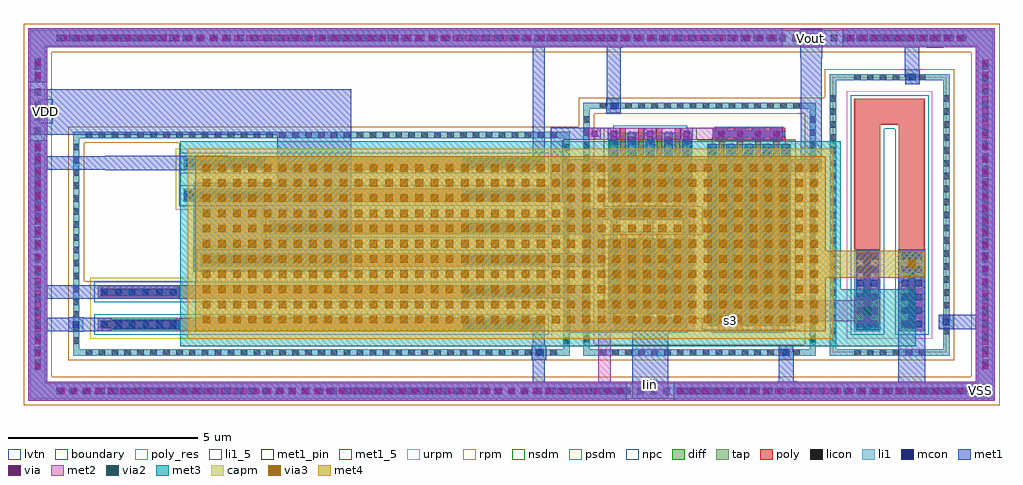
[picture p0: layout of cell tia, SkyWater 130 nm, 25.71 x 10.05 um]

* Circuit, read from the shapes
.subckt tia Iin VDD VSS Vout s3
XM1 VSS Iin sky130_fd_pr__nfet_01v8_lvt_Z2NKZQ_3/D0 VSS sky130_fd_pr__nfet_01v8_lvt w=1.98 l=0.15 m=4
XM2 Iin sky130_fd_pr__nfet_01v8_lvt_Z2NKZQ_3/D0 sky130_fd_pr__nfet_01v8_lvt_L86FKH_4/D0 VSS sky130_fd_pr__nfet_01v8_lvt w=1.83 l=0.15 m=4
XM3 s3 sky130_fd_pr__nfet_01v8_lvt_L86FKH_4/D0 Vout VSS sky130_fd_pr__nfet_01v8_lvt w=4.78 l=0.15 m=4
XC4 VSS s3 sky130_fd_pr__cap_mim_m3_1 w=17 l=5
XR5 VSS VSS VSS sky130_fd_pr__res_high_po w=0.35 l=7.5
XR6 Iin VSS VSS sky130_fd_pr__res_high_po w=0.35 l=7.5
XR7 sky130_fd_pr__nfet_01v8_lvt_L86FKH_4/D0 VDD VSS sky130_fd_pr__res_high_po w=0.35 l=5.24
XR8 VSS VSS VSS sky130_fd_pr__res_high_po w=0.35 l=5.24
XR9 sky130_fd_pr__nfet_01v8_lvt_Z2NKZQ_3/D0 VDD VSS sky130_fd_pr__res_high_po w=0.35 l=4.79
XR10 Vout VDD VSS sky130_fd_pr__res_high_po w=0.35 l=2.98
XR11 s3 VSS VSS sky130_fd_pr__res_xhigh_po w=0.69 l=8.44
.ends

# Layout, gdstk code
from math import pi, radians
import gdstk
lib = gdstk.Library(unit=1e-6, precision=1e-09)
def R(c, l, rs):  # rectangles x0, y0, x1, y1
    for r in rs: c.add(gdstk.rectangle(r[:2], r[2:], *l))
def A(c, l, x, y, w, h, nx, ny, dx, dy):  # array of equal rectangles
    R(c, l, [(x+i*dx, y+j*dy, x+i*dx+w, y+j*dy+h) for i in range(nx) for j in range(ny)])
diff = (65, 20)
tap = (65, 44)
poly_res = (66, 13)
poly = (66, 20)
licon = (66, 44)
li1_5 = (67, 5)
li1 = (67, 20)
mcon = (67, 44)
met1_5 = (68, 5)
met1_pin = (68, 16)
met1 = (68, 20)
via = (68, 44)
met2 = (69, 20)
via2 = (69, 44)
met3 = (70, 20)
via3 = (70, 44)
met4 = (71, 20)
urpm = (79, 20)
rpm = (86, 20)
capm = (89, 44)
nsdm = (93, 44)
psdm = (94, 20)
npc = (95, 20)
lvtn = (125, 44)
boundary = (235, 4)

sky130_fd_pr__res_high_p = lib.new_cell('sky130_fd_pr__res_high_po_0p35_G6NFUH')
R(sky130_fd_pr__res_high_p, poly_res, [(-0.175,-2.68,0.175,2.68)])
R(sky130_fd_pr__res_high_p, poly, [(-0.175,-4.76,0.175,4.76)])
R(sky130_fd_pr__res_high_p, licon, [(-0.095,-4.68,0.095,-2.68), (-0.095,2.68,0.095,4.68)])
R(sky130_fd_pr__res_high_p, li1, [(-0.175,-4.76,0.175,-2.6), (-0.175,2.6,0.175,4.76)])
A(sky130_fd_pr__res_high_p, mcon, -0.085, -4.665, 0.17, 0.17, 1, 6, 0, 0.36)
A(sky130_fd_pr__res_high_p, mcon, -0.085, 2.69, 0.17, 0.17, 1, 6, 0, 0.36)
R(sky130_fd_pr__res_high_p, met1, [(-0.125,-4.73,0.125,-2.625), (-0.125,2.625,0.125,4.73)])
R(sky130_fd_pr__res_high_p, rpm, [(-0.375,-4.96,0.375,4.96)])
R(sky130_fd_pr__res_high_p, psdm, [(-0.285,-4.87,0.285,4.87)])
R(sky130_fd_pr__res_high_p, npc, [(-0.27,-4.855,0.27,4.855)])
sky130_fd_pr__res_high_p.add(gdstk.Label('R1', (0,4.585), layer=67, texttype=5))
sky130_fd_pr__res_high_p.add(gdstk.Label('R2', (0,-4.585), layer=67, texttype=5))

c_sky130_fd_pr__res_high_p = lib.new_cell('sky130_fd_pr__res_high_po_0p35_CDD7FB')
R(c_sky130_fd_pr__res_high_p, poly_res, [(-0.175,-3.81,0.175,3.81)])
R(c_sky130_fd_pr__res_high_p, poly, [(-0.175,-5.89,0.175,5.89)])
R(c_sky130_fd_pr__res_high_p, licon, [(-0.095,-5.81,0.095,-3.81), (-0.095,3.81,0.095,5.81)])
R(c_sky130_fd_pr__res_high_p, li1, [(-0.175,-5.89,0.175,-3.73), (-0.175,3.73,0.175,5.89)])
A(c_sky130_fd_pr__res_high_p, mcon, -0.085, -5.795, 0.17, 0.17, 1, 6, 0, 0.36)
A(c_sky130_fd_pr__res_high_p, mcon, -0.085, 3.82, 0.17, 0.17, 1, 6, 0, 0.36)
R(c_sky130_fd_pr__res_high_p, met1, [(-0.125,-5.86,0.125,-3.755), (-0.125,3.755,0.125,5.86)])
R(c_sky130_fd_pr__res_high_p, rpm, [(-0.375,-6.09,0.375,6.09)])
R(c_sky130_fd_pr__res_high_p, psdm, [(-0.285,-6,0.285,6)])
R(c_sky130_fd_pr__res_high_p, npc, [(-0.27,-5.985,0.27,5.985)])
c_sky130_fd_pr__res_high_p.add(gdstk.Label('R1', (0,5.715), layer=67, texttype=5))
c_sky130_fd_pr__res_high_p.add(gdstk.Label('R2', (0,-5.715), layer=67, texttype=5))

c_sky130_fd_pr__res_high_p_ = lib.new_cell('sky130_fd_pr__res_high_po_0p35_VNWR4D')
R(c_sky130_fd_pr__res_high_p_, poly_res, [(-0.175,-1.55,0.175,1.55)])
R(c_sky130_fd_pr__res_high_p_, poly, [(-0.175,-3.63,0.175,3.63)])
R(c_sky130_fd_pr__res_high_p_, licon, [(-0.095,-3.55,0.095,-1.55), (-0.095,1.55,0.095,3.55)])
R(c_sky130_fd_pr__res_high_p_, li1, [(-0.175,-3.63,0.175,-1.47), (-0.175,1.47,0.175,3.63)])
A(c_sky130_fd_pr__res_high_p_, mcon, -0.085, -3.535, 0.17, 0.17, 1, 6, 0, 0.36)
A(c_sky130_fd_pr__res_high_p_, mcon, -0.085, 1.56, 0.17, 0.17, 1, 6, 0, 0.36)
R(c_sky130_fd_pr__res_high_p_, met1, [(-0.125,-3.6,0.125,-1.495), (-0.125,1.495,0.125,3.6)])
R(c_sky130_fd_pr__res_high_p_, rpm, [(-0.375,-3.83,0.375,3.83)])
R(c_sky130_fd_pr__res_high_p_, psdm, [(-0.285,-3.74,0.285,3.74)])
R(c_sky130_fd_pr__res_high_p_, npc, [(-0.27,-3.725,0.27,3.725)])
c_sky130_fd_pr__res_high_p_.add(gdstk.Label('R1', (0,3.455), layer=67, texttype=5))
c_sky130_fd_pr__res_high_p_.add(gdstk.Label('R2', (0,-3.455), layer=67, texttype=5))

c_sky130_fd_pr__res_high_p__ = lib.new_cell('sky130_fd_pr__res_high_po_0p35_GQTRPE')
R(c_sky130_fd_pr__res_high_p__, poly_res, [(-0.175,-2.455,0.175,2.455)])
R(c_sky130_fd_pr__res_high_p__, poly, [(-0.175,-4.535,0.175,4.535)])
R(c_sky130_fd_pr__res_high_p__, licon, [(-0.095,-4.455,0.095,-2.455), (-0.095,2.455,0.095,4.455)])
R(c_sky130_fd_pr__res_high_p__, li1, [(-0.175,-4.535,0.175,-2.375), (-0.175,2.375,0.175,4.535)])
A(c_sky130_fd_pr__res_high_p__, mcon, -0.085, -4.44, 0.17, 0.17, 1, 6, 0, 0.36)
A(c_sky130_fd_pr__res_high_p__, mcon, -0.085, 2.465, 0.17, 0.17, 1, 6, 0, 0.36)
R(c_sky130_fd_pr__res_high_p__, met1, [(-0.125,-4.505,0.125,-2.4), (-0.125,2.4,0.125,4.505)])
R(c_sky130_fd_pr__res_high_p__, rpm, [(-0.375,-4.735,0.375,4.735)])
R(c_sky130_fd_pr__res_high_p__, psdm, [(-0.285,-4.645,0.285,4.645)])
R(c_sky130_fd_pr__res_high_p__, npc, [(-0.27,-4.63,0.27,4.63)])
c_sky130_fd_pr__res_high_p__.add(gdstk.Label('R1', (0,4.36), layer=67, texttype=5))
c_sky130_fd_pr__res_high_p__.add(gdstk.Label('R2', (0,-4.36), layer=67, texttype=5))

resbank = lib.new_cell('resbank')
R(resbank, tap, [(-3.825,-6.54,2.075,-6.37), (-3.825,-6.37,-3.655,6.37), (1.905,-6.37,2.075,6.37), (-3.825,6.37,2.075,6.54)])
A(resbank, licon, -3.51, -6.54, 0.17, 0.17, 16, 2, 0.34, 12.91)
A(resbank, licon, -3.825, -6.205, 0.17, 0.17, 1, 37, 0, 0.34)
A(resbank, licon, 1.905, -6.205, 0.17, 0.17, 1, 37, 0, 0.34)
R(resbank, li1_5, [(-3.825,-0.1,-3.655,0.1)])
R(resbank, li1, [(-3.825,-6.54,2.075,-6.37), (-3.825,-6.37,-3.655,6.37), (1.905,-6.37,2.075,6.37), (-3.825,6.37,2.075,6.54)])
R(resbank, rpm, [(-2.625,-6.09,-2.525,6.09), (-1.775,-6.09,-1.675,3.38), (-0.925,-6.09,-0.825,1.57), (-0.075,-6.09,0.025,1.57), (0.775,-6.09,0.875,3.83)])
R(resbank, psdm, [(-3.95,-6.665,2.2,-6), (-3.95,-6,-3.285,6), (-2.715,-6,-2.435,6), (-1.865,-6,-1.585,3.29), (-1.015,-6,-0.735,1.48), (-0.165,-6,0.115,1.48), (0.685,-6,0.965,3.74), (1.535,-6,2.2,3.74), (1.78,3.74,2.2,6.245), (-3.95,6,-1.865,6.245), (-3.95,6.245,2.2,6.665)])
resbank.add(gdstk.Reference(sky130_fd_pr__res_high_p, (1.25,-1.13)))
resbank.add(gdstk.Reference(c_sky130_fd_pr__res_high_p, (-3,0)))
resbank.add(gdstk.Reference(c_sky130_fd_pr__res_high_p, (-2.15,0)))
resbank.add(gdstk.Reference(c_sky130_fd_pr__res_high_p_, (-0.45,-2.26)))
resbank.add(gdstk.Reference(c_sky130_fd_pr__res_high_p__, (-1.3,-1.355)))
resbank.add(gdstk.Reference(sky130_fd_pr__res_high_p, (0.4,-1.13)))
resbank.add(gdstk.Label('VSS', (-3.74,0), layer=67, texttype=5))

sky130_fd_pr__res_xhigh_ = lib.new_cell('sky130_fd_pr__res_xhigh_po_0p69_2YV6RR')
R(sky130_fd_pr__res_xhigh_, tap, [(-1.58,-3.71,1.58,-3.54), (-1.58,-3.54,-1.41,3.54), (1.41,-3.54,1.58,3.54), (-1.58,3.54,1.58,3.71)])
R(sky130_fd_pr__res_xhigh_, poly_res, [(-0.93,-0.98,-0.24,2.37), (0.24,-0.98,0.93,2.37), (-0.93,2.37,0.93,3.06)])
R(sky130_fd_pr__res_xhigh_, poly, [(-0.93,-3.06,-0.24,2.37), (0.24,-3.06,0.93,2.37), (-0.93,2.37,0.93,3.06)])
A(sky130_fd_pr__res_xhigh_, licon, -0.935, -3.71, 0.17, 0.17, 6, 2, 0.34, 7.25)
A(sky130_fd_pr__res_xhigh_, licon, -1.58, -3.145, 0.17, 0.17, 1, 19, 0, 0.34)
A(sky130_fd_pr__res_xhigh_, licon, 1.41, -3.145, 0.17, 0.17, 1, 19, 0, 0.34)
R(sky130_fd_pr__res_xhigh_, licon, [(-0.68,-2.98,-0.49,-0.98), (0.49,-2.98,0.68,-0.98)])
R(sky130_fd_pr__res_xhigh_, li1, [(-1.58,-3.71,1.58,-3.54), (-1.58,-3.54,-1.41,3.54), (1.41,-3.54,1.58,3.54), (-0.93,-3.06,-0.24,-0.9), (0.24,-3.06,0.93,-0.9), (-1.58,3.54,1.58,3.71)])
A(sky130_fd_pr__res_xhigh_, mcon, -0.85, -2.965, 0.17, 0.17, 1, 6, 0, 0.36)
A(sky130_fd_pr__res_xhigh_, mcon, -0.49, -2.965, 0.17, 0.17, 1, 6, 0, 0.36)
A(sky130_fd_pr__res_xhigh_, mcon, 0.32, -2.965, 0.17, 0.17, 1, 6, 0, 0.36)
A(sky130_fd_pr__res_xhigh_, mcon, 0.68, -2.965, 0.17, 0.17, 1, 6, 0, 0.36)
R(sky130_fd_pr__res_xhigh_, met1, [(-0.88,-3.03,-0.29,-0.925), (0.29,-3.03,0.88,-0.925)])
R(sky130_fd_pr__res_xhigh_, urpm, [(-1.13,-3.26,1.13,3.26)])
R(sky130_fd_pr__res_xhigh_, psdm, [(-1.705,-3.835,1.705,3.835)])
R(sky130_fd_pr__res_xhigh_, npc, [(-1.025,-3.155,-0.145,2.275), (0.145,-3.155,1.025,2.275), (-1.025,2.275,1.025,3.155)])
R(sky130_fd_pr__res_xhigh_, boundary, [(-1.495,-3.625,1.495,3.625)])
sky130_fd_pr__res_xhigh_.add(gdstk.Label('B', (0,-3.625), layer=67, texttype=5))
sky130_fd_pr__res_xhigh_.add(gdstk.Label('R1', (-0.585,-2.885), layer=67, texttype=5))
sky130_fd_pr__res_xhigh_.add(gdstk.Label('R2', (0.585,-2.885), layer=67, texttype=5))

sky130_fd_pr__nfet_01v8_ = lib.new_cell('sky130_fd_pr__nfet_01v8_lvt_Y8Z6EY')
R(sky130_fd_pr__nfet_01v8_, diff, [(-1.105,-2.545,1.105,2.235)])
A(sky130_fd_pr__nfet_01v8_, poly, -0.795, -2.675, 0.15, 5.02, 4, 1, 0.48, 0)
R(sky130_fd_pr__nfet_01v8_, poly, [(-0.96,2.345,0.96,2.675)])
A(sky130_fd_pr__nfet_01v8_, licon, -1.045, -2.45, 0.17, 0.17, 5, 14, 0.48, 0.34)
A(sky130_fd_pr__nfet_01v8_, licon, -0.805, 2.425, 0.17, 0.17, 4, 1, 0.48, 0)
A(sky130_fd_pr__nfet_01v8_, li1, -1.045, -2.565, 0.17, 4.82, 5, 1, 0.48, 0)
R(sky130_fd_pr__nfet_01v8_, li1, [(-0.96,2.425,0.96,2.595)])
A(sky130_fd_pr__nfet_01v8_, mcon, -1.045, -2.4, 0.17, 0.17, 5, 13, 0.48, 0.36)
A(sky130_fd_pr__nfet_01v8_, mcon, -0.805, 2.425, 0.17, 0.17, 4, 1, 0.48, 0)
A(sky130_fd_pr__nfet_01v8_, met1, -1.075, -2.545, 0.23, 4.78, 5, 1, 0.48, 0)
A(sky130_fd_pr__nfet_01v8_, met1, -0.865, 2.395, 0.29, 0.03, 4, 2, 0.48, 0.2)
R(sky130_fd_pr__nfet_01v8_, met1, [(-0.96,2.425,0.96,2.595)])
R(sky130_fd_pr__nfet_01v8_, nsdm, [(-1.23,-2.67,1.23,2.36)])
R(sky130_fd_pr__nfet_01v8_, npc, [(-0.905,2.325,0.905,2.695)])
R(sky130_fd_pr__nfet_01v8_, lvtn, [(-0.975,-2.725,0.975,2.415)])
sky130_fd_pr__nfet_01v8_.add(gdstk.Label('D0', (-0.96,-0.155), layer=67, texttype=5))
sky130_fd_pr__nfet_01v8_.add(gdstk.Label('G', (0.72,2.51), layer=67, texttype=5))
sky130_fd_pr__nfet_01v8_.add(gdstk.Label('G', (0.24,2.51), layer=67, texttype=5))
sky130_fd_pr__nfet_01v8_.add(gdstk.Label('G', (-0.24,2.51), layer=67, texttype=5))
sky130_fd_pr__nfet_01v8_.add(gdstk.Label('G', (-0.72,2.51), layer=67, texttype=5))
sky130_fd_pr__nfet_01v8_.add(gdstk.Label('S1', (-0.48,-0.155), layer=67, texttype=5))
sky130_fd_pr__nfet_01v8_.add(gdstk.Label('D2', (0,-0.155), layer=67, texttype=5))
sky130_fd_pr__nfet_01v8_.add(gdstk.Label('S3', (0.48,-0.155), layer=67, texttype=5))

c_sky130_fd_pr__nfet_01v8_ = lib.new_cell('sky130_fd_pr__nfet_01v8_lvt_Z2NKZQ')
R(c_sky130_fd_pr__nfet_01v8_, diff, [(-1.105,-0.835,1.105,1.145)])
A(c_sky130_fd_pr__nfet_01v8_, poly, -0.795, -0.945, 0.15, 2.22, 4, 1, 0.48, 0)
R(c_sky130_fd_pr__nfet_01v8_, poly, [(-0.96,-1.275,0.96,-0.945)])
A(c_sky130_fd_pr__nfet_01v8_, licon, -0.805, -1.195, 0.17, 0.17, 4, 1, 0.48, 0)
A(c_sky130_fd_pr__nfet_01v8_, licon, -1.045, -0.61, 0.17, 0.17, 5, 5, 0.48, 0.34)
A(c_sky130_fd_pr__nfet_01v8_, li1, -1.045, -0.855, 0.17, 2.02, 5, 1, 0.48, 0)
R(c_sky130_fd_pr__nfet_01v8_, li1, [(-0.96,-1.195,0.96,-1.025)])
A(c_sky130_fd_pr__nfet_01v8_, mcon, -0.805, -1.195, 0.17, 0.17, 4, 1, 0.48, 0)
A(c_sky130_fd_pr__nfet_01v8_, mcon, -1.045, -0.65, 0.17, 0.17, 5, 5, 0.48, 0.36)
A(c_sky130_fd_pr__nfet_01v8_, met1, -0.865, -1.225, 0.29, 0.03, 4, 2, 0.48, 0.2)
A(c_sky130_fd_pr__nfet_01v8_, met1, -1.075, -0.835, 0.23, 1.98, 5, 1, 0.48, 0)
R(c_sky130_fd_pr__nfet_01v8_, met1, [(-0.96,-1.195,0.96,-1.025)])
R(c_sky130_fd_pr__nfet_01v8_, nsdm, [(-1.23,-0.96,1.23,1.27)])
R(c_sky130_fd_pr__nfet_01v8_, npc, [(-0.905,-1.295,0.905,-0.925)])
R(c_sky130_fd_pr__nfet_01v8_, lvtn, [(-0.975,-1.015,0.975,1.325)])
c_sky130_fd_pr__nfet_01v8_.add(gdstk.Label('D0', (-0.96,0.155), layer=67, texttype=5))
c_sky130_fd_pr__nfet_01v8_.add(gdstk.Label('G', (0.72,-1.11), layer=67, texttype=5))
c_sky130_fd_pr__nfet_01v8_.add(gdstk.Label('G', (0.24,-1.11), layer=67, texttype=5))
c_sky130_fd_pr__nfet_01v8_.add(gdstk.Label('G', (-0.24,-1.11), layer=67, texttype=5))
c_sky130_fd_pr__nfet_01v8_.add(gdstk.Label('G', (-0.72,-1.11), layer=67, texttype=5))
c_sky130_fd_pr__nfet_01v8_.add(gdstk.Label('S1', (-0.48,0.155), layer=67, texttype=5))
c_sky130_fd_pr__nfet_01v8_.add(gdstk.Label('D2', (0,0.155), layer=67, texttype=5))
c_sky130_fd_pr__nfet_01v8_.add(gdstk.Label('S3', (0.48,0.155), layer=67, texttype=5))

c_sky130_fd_pr__nfet_01v8__ = lib.new_cell('sky130_fd_pr__nfet_01v8_lvt_L86FKH')
R(c_sky130_fd_pr__nfet_01v8__, diff, [(-1.105,-1.07,1.105,0.76)])
A(c_sky130_fd_pr__nfet_01v8__, poly, -0.795, -1.2, 0.15, 2.07, 4, 1, 0.48, 0)
R(c_sky130_fd_pr__nfet_01v8__, poly, [(-0.96,0.87,0.96,1.2)])
A(c_sky130_fd_pr__nfet_01v8__, licon, -1.045, -0.92, 0.17, 0.17, 5, 5, 0.48, 0.34)
A(c_sky130_fd_pr__nfet_01v8__, licon, -0.805, 0.95, 0.17, 0.17, 4, 1, 0.48, 0)
A(c_sky130_fd_pr__nfet_01v8__, li1, -1.045, -1.09, 0.17, 1.87, 5, 1, 0.48, 0)
R(c_sky130_fd_pr__nfet_01v8__, li1, [(-0.96,0.95,0.96,1.12)])
A(c_sky130_fd_pr__nfet_01v8__, mcon, -1.045, -0.96, 0.17, 0.17, 5, 5, 0.48, 0.36)
A(c_sky130_fd_pr__nfet_01v8__, mcon, -0.805, 0.95, 0.17, 0.17, 4, 1, 0.48, 0)
A(c_sky130_fd_pr__nfet_01v8__, met1, -1.075, -1.07, 0.23, 1.83, 5, 1, 0.48, 0)
A(c_sky130_fd_pr__nfet_01v8__, met1, -0.865, 0.92, 0.29, 0.03, 4, 2, 0.48, 0.2)
R(c_sky130_fd_pr__nfet_01v8__, met1, [(-0.96,0.95,0.96,1.12)])
R(c_sky130_fd_pr__nfet_01v8__, nsdm, [(-1.23,-1.195,1.23,0.885)])
R(c_sky130_fd_pr__nfet_01v8__, npc, [(-0.905,0.85,0.905,1.22)])
R(c_sky130_fd_pr__nfet_01v8__, lvtn, [(-0.975,-1.25,0.975,0.94)])
c_sky130_fd_pr__nfet_01v8__.add(gdstk.Label('D0', (-0.96,-0.155), layer=67, texttype=5))
c_sky130_fd_pr__nfet_01v8__.add(gdstk.Label('G', (0.72,1.035), layer=67, texttype=5))
c_sky130_fd_pr__nfet_01v8__.add(gdstk.Label('G', (0.24,1.035), layer=67, texttype=5))
c_sky130_fd_pr__nfet_01v8__.add(gdstk.Label('G', (-0.24,1.035), layer=67, texttype=5))
c_sky130_fd_pr__nfet_01v8__.add(gdstk.Label('G', (-0.72,1.035), layer=67, texttype=5))
c_sky130_fd_pr__nfet_01v8__.add(gdstk.Label('S1', (-0.48,-0.155), layer=67, texttype=5))
c_sky130_fd_pr__nfet_01v8__.add(gdstk.Label('D2', (0,-0.155), layer=67, texttype=5))
c_sky130_fd_pr__nfet_01v8__.add(gdstk.Label('S3', (0.48,-0.155), layer=67, texttype=5))

sky130_fd_pr__cap_mim_m3 = lib.new_cell('sky130_fd_pr__cap_mim_m3_1_LFD929')
R(sky130_fd_pr__cap_mim_m3, met3, [(-9.58,-2.7,9.8,-1.2), (-9.58,-1.2,7.82,2.7)])
A(sky130_fd_pr__cap_mim_m3, via3, -8.98, -2.1, 0.2, 0.2, 41, 11, 0.4, 0.4)
R(sky130_fd_pr__cap_mim_m3, met4, [(-9.185,-2.305,7.425,2.305)])
R(sky130_fd_pr__cap_mim_m3, capm, [(-9.38,-2.5,7.62,2.5)])
R(sky130_fd_pr__cap_mim_m3, boundary, [(-9.58,-2.7,7.82,2.7)])
sky130_fd_pr__cap_mim_m3.add(gdstk.Label('C1', (-0.88,0), layer=71, texttype=5))

tia = lib.new_cell('tia')
R(tia, tap, [(0.04,0.06,25.5,0.56), (0.04,0.56,0.54,9.36), (25,0.56,25.5,9.36), (14.66,1.24,20.79,1.41), (14.66,1.41,14.83,7.74), (20.62,1.41,20.79,7.74), (14.66,7.74,20.79,7.91), (0.04,9.36,25.5,9.86)])
A(tia, licon, 0.785, 0.225, 0.17, 0.17, 71, 2, 0.34, 9.3)
A(tia, licon, 0.205, 0.965, 0.17, 0.17, 1, 24, 0, 0.34)
A(tia, licon, 25.165, 0.97, 0.17, 0.17, 1, 24, 0, 0.34)
A(tia, licon, 15.09, 1.24, 0.17, 0.17, 16, 2, 0.34, 6.5)
A(tia, licon, 14.66, 1.6, 0.17, 0.17, 1, 18, 0, 0.34)
A(tia, licon, 20.62, 1.6, 0.17, 0.17, 1, 18, 0, 0.34)
R(tia, li1, [(0.09,0.11,25.45,0.51), (0.09,0.51,0.49,9.41), (25.05,0.51,25.45,9.41), (13.3,1.13,13.68,1.51), (19.815,1.135,20.195,1.24), (14.66,1.24,20.79,1.41), (14.66,1.41,14.83,7.74), (19.815,1.41,20.195,1.515), (20.62,1.41,20.79,7.74), (1.11,1.87,1.49,2.25), (24.025,1.94,24.405,2.32), (15.27,7.63,15.65,7.74), (14.66,7.74,20.79,7.91), (15.27,7.91,15.65,8.01), (23.14,8.39,23.52,8.77), (0.09,9.41,25.45,9.81)])
A(tia, mcon, 0.8, 0.225, 0.17, 0.17, 42, 1, 0.36, 0)
A(tia, mcon, 17.245, 0.225, 0.17, 0.17, 21, 1, 0.36, 0)
A(tia, mcon, 0.205, 0.87, 0.17, 0.17, 1, 17, 0, 0.36)
A(tia, mcon, 25.165, 0.92, 0.17, 0.17, 1, 23, 0, 0.36)
A(tia, mcon, 0.87, 9.525, 0.17, 0.17, 53, 1, 0.36, 0)
A(tia, mcon, 21.63, 9.525, 0.17, 0.17, 9, 1, 0.36, 0)
R(tia, mcon, [(13.405,1.235,13.575,1.405), (19.92,1.24,20.09,1.41), (1.215,1.975,1.385,2.145), (24.13,2.045,24.3,2.215), (15.375,7.735,15.545,7.905), (23.245,8.495,23.415,8.665), (0.205,8.54,0.375,8.71), (0.205,8.9,0.375,9.07)])
R(tia, met1_5, [(18.385,2.15,18.705,2.18)])
R(tia, met1_pin, [(24.91,0.165,25.345,0.485), (16.25,0.365,16.595,0.595), (0.3,7.365,0.69,8), (20.49,9.5,20.82,9.715)])
A(tia, met1, 15.545, 2.15, 0.32, 0.05, 4, 1, 0.48, 0)
A(tia, met1, 17.905, 6.095, 0.32, 0.32, 3, 1, 0.96, 0)
A(tia, met1, 15.305, 6.925, 0.32, 0.32, 3, 1, 0.96, 0)
A(tia, met1, 18.145, 6.95, 0.32, 0.295, 4, 1, 0.48, 0)
R(tia, met1, [(0.04,0.06,15.805,0.56), (17.05,0.06,25.5,0.56), (15.95,0.105,16.905,0.975), (0.04,0.56,0.54,1.89), (13.33,0.56,13.65,1.13), (19.775,0.56,20.285,0.565), (22.96,0.56,23.665,4.05), (25,0.56,25.5,1.935), (19.81,0.565,20.2,1.325), (15.95,0.975,16.9,1.85), (13.3,1.13,13.68,1.51), (19.815,1.325,20.195,1.515), (13.33,1.51,13.65,1.89), (14.3,1.85,17.4,2.15), (1.11,1.87,1.49,1.89), (0.04,1.89,2.22,2.24), (13.3,1.89,13.65,2.24), (24.22,1.935,25.5,1.94), (24.025,1.94,25.5,2.315), (21.8,2.08,22.49,2.77), (14.3,2.15,14.65,2.75), (18.385,2.15,18.705,2.695), (19.345,2.155,19.665,2.705), (0.04,2.24,0.54,2.74), (1.11,2.24,1.49,2.25), (24.025,2.315,24.405,2.32), (25,2.315,25.5,9.36), (15.785,2.375,16.105,2.695), (16.745,2.375,17.065,2.695), (0.04,2.74,4.015,3.09), (11.71,2.74,12.21,3.09), (13.3,2.75,14.65,3.1), (0.04,3.09,0.54,6.14), (4.4,3.45,8.55,5.8), (13.57,3.59,15.17,3.945), (15.38,3.94,15.55,4.82), (14.85,3.945,15.17,4.82), (16.34,3.95,16.51,4.82), (17.3,3.98,17.47,4.82), (13.585,4.435,14.655,4.79), (14.335,4.79,14.655,6.095), (14.85,4.82,17.47,5.125), (15.38,5.125,15.59,5.13), (16.31,5.125,16.54,5.13), (17.23,5.125,17.47,5.13), (13.595,5.29,14.12,5.64), (15.785,5.325,16.105,5.645), (16.745,5.325,17.065,5.645), (13.8,5.64,14.12,6.925), (6.6,5.8,8.55,7.06), (14.335,6.095,15.12,6.415), (20.385,6.095,20.945,9.09), (2.085,6.13,5.3,6.14), (0.04,6.14,5.3,6.49), (13.3,6.14,13.65,6.49), (0.04,6.49,0.54,6.91), (2.085,6.49,5.3,6.505), (13.33,6.49,13.65,9.36), (13.8,6.925,15.12,7.24), (0.085,7.06,8.55,8.265), (14.8,7.24,15.12,7.245), (15.27,7.63,15.65,7.785), (15.275,7.785,15.65,7.82), (15.275,7.82,15.645,9.355), (23.14,8.39,23.52,8.585), (0.04,8.44,0.54,9.36), (23.135,8.585,23.52,8.77), (23.135,8.77,23.515,9.36), (20.38,9.09,20.95,9.845), (15.275,9.355,15.705,9.36), (23.695,9.355,24.155,9.36), (0.04,9.36,19.9,9.86), (21.5,9.36,25.5,9.86)])
A(tia, via, 0.855, 0.235, 0.15, 0.15, 47, 1, 0.32, 0)
A(tia, via, 17.15, 0.235, 0.15, 0.15, 24, 1, 0.32, 0)
A(tia, via, 25.175, 0.89, 0.15, 0.15, 1, 26, 0, 0.32)
A(tia, via, 0.215, 0.9, 0.15, 0.15, 1, 19, 0, 0.32)
A(tia, via, 15.63, 1.99, 0.15, 0.15, 4, 1, 0.48, 0)
A(tia, via, 17.99, 6.18, 0.15, 0.15, 3, 1, 0.96, 0)
A(tia, via, 15.39, 7.01, 0.15, 0.15, 3, 1, 0.96, 0)
A(tia, via, 18.23, 7.01, 0.15, 0.15, 4, 1, 0.48, 0)
A(tia, via, 0.985, 9.535, 0.15, 0.15, 59, 1, 0.32, 0)
A(tia, via, 21.615, 9.535, 0.15, 0.15, 10, 1, 0.32, 0)
R(tia, via, [(18.47,2.345,18.62,2.495), (22.07,2.345,22.22,2.495), (19.43,2.355,19.58,2.505), (15.87,2.46,16.02,2.61), (16.83,2.46,16.98,2.61), (23.24,3.585,23.39,3.735), (15.87,5.41,16.02,5.56), (16.83,5.41,16.98,5.56), (14.885,6.18,15.035,6.33), (20.59,6.18,20.74,6.33), (14.885,7.01,15.035,7.16), (0.215,8.545,0.365,8.695), (0.215,8.865,0.365,9.015)])
R(tia, met2, [(0.04,0.06,25.5,0.56), (0.04,0.56,0.54,9.36), (15.06,0.56,15.38,2.375), (25,0.56,25.5,9.36), (15.545,1.905,17.585,2.225), (21.8,2.08,22.49,2.15), (18.385,2.15,22.49,2.695), (17.265,2.225,17.585,5.325), (15.06,2.375,17.065,2.695), (19.345,2.695,19.665,2.705), (21.8,2.695,22.49,2.77), (22.97,3.305,23.66,3.995), (15.78,5.325,17.585,5.645), (14.8,6.095,20.945,6.415), (14.795,6.925,19.905,7.245), (0.04,9.36,25.5,9.86)])
R(tia, via2, [(22.045,2.32,22.245,2.52), (23.215,3.56,23.415,3.76)])
R(tia, met3, [(21.975,2.18,22.32,2.66), (22.97,3.305,23.66,3.995)])
R(tia, via3, [(23.215,3.56,23.415,3.76)])
R(tia, met4, [(20.85,3.3,23.06,3.305), (20.85,3.305,23.66,3.995), (20.85,3.995,23.06,4.005)])
R(tia, nsdm, [(17.655,2.215,17.795,4.445), (17.655,5.165,17.795,6.935)])
R(tia, psdm, [(-0.085,-0.065,25.625,0.685), (-0.085,0.685,0.665,9.235), (24.875,0.685,25.625,9.235), (14.425,1.115,21.025,1.535), (14.425,1.535,14.955,7.265), (20.495,1.535,21.025,7.615), (14.535,7.265,14.955,7.615), (14.535,7.615,21.025,8.035), (-0.085,9.235,25.625,9.985)])
tia.add(gdstk.Reference(resbank, (7.76,5.065), rotation=pi/2))
tia.add(gdstk.Reference(sky130_fd_pr__res_xhigh_, (22.73,4.95)))
tia.add(gdstk.Reference(sky130_fd_pr__nfet_01v8_, (19.025,4.575)))
tia.add(gdstk.Reference(c_sky130_fd_pr__nfet_01v8_, (16.425,3.175)))
tia.add(gdstk.Reference(c_sky130_fd_pr__nfet_01v8__, (16.425,6.05), rotation=pi))
tia.add(gdstk.Reference(sky130_fd_pr__cap_mim_m3, (13.62,4.19)))
tia.add(gdstk.Label('s3', (18.545,2.165), layer=68, texttype=5))
tia.add(gdstk.Label('Iin', (16.422,0.48), layer=68, texttype=5))
tia.add(gdstk.Label('VDD', (0.495,7.682), layer=68, texttype=5))
tia.add(gdstk.Label('VSS', (25.127,0.325), layer=68, texttype=5))
tia.add(gdstk.Label('Vout', (20.655,9.607), layer=68, texttype=5))

lib.write_gds('tia.gds')
